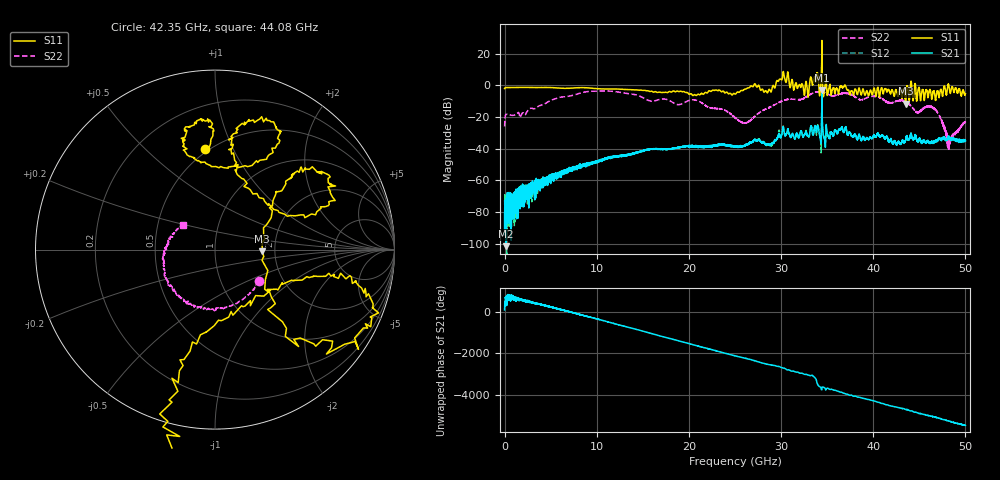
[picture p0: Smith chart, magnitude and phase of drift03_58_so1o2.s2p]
!Created with skrf (http://scikit-rf.org).
# Hz S RI R 50.0
!freq ReS11 ImS11 ReS21 ImS21 ReS12 ImS12 ReS22 ImS22
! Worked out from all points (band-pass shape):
!   10000 points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, 5.3 MHz to 50 GHz, reference 50 ohm
!   highest |S21| = -2.97 dB at 34.43 GHz (marker M1); lowest = -101.8 dB at 145.3 MHz (marker M2)
!   |S21| within 3 dB of the highest: 34.42743 GHz to 34.43482 GHz (7.388 MHz wide, 0.0215 % of centre)
!   lowest |S11| = -11.6 dB at 43.52 GHz (marker M3), VSWR 1.72, Z = 85.8 - j1.64 ohm
!   |S11| at or under -10 dB: 43.48865 GHz to 43.54488 GHz (56.23 MHz wide, 0.129 % of centre); 44.70697 GHz to 44.71091 GHz (3.937 MHz wide, 0.00881 % of centre)
!   |S22| runs from -40.3 to -3.6 dB; largest |S21 - S12| = 0.24
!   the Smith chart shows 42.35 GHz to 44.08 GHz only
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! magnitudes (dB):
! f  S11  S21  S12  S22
! 5.3 MHz  -2.1  -80.5  -73.3  -26.1
! 145.3 MHz  -1.4  -101.8  -72.3  -18.4
! 1.97 GHz  -1.3  -67.5  -66.4  -17.4
! 8.34 GHz  -1.5  -50.3  -51.1  -4.7
! 16.67 GHz  -4.4  -40.6  -40.3  -9.2
! 20.75 GHz  -6.3  -38.6  -38.5  -9.4
! 25.01 GHz  -5.5  -38.9  -38.6  -20.5
! 26.22 GHz  -2.3  -37.6  -37.5  -23.7
! 27.38 GHz  -1.2  -34.8  -35.1  -18.5
! 28.72 GHz  -2.5  -37.7  -37.6  -14.1
! 30.14 GHz  4.5  -29.4  -29.7  -9.9
! 32.74 GHz  2.0  -29.5  -29.2  -7.2
! 33.34 GHz  2.6  -27.5  -27.8  -5.3
! 33.82 GHz  4.0  -29.3  -29.6  -4.3
! 34.43 GHz  28.3  -3.0  -5.3  -4.0
! 36.49 GHz  -0.2  -27.8  -27.9  -5.3
! 41.67 GHz  -2.9  -35.5  -35.2  -10.8
! 43.52 GHz  -11.6  -34.4  -34.4  -10.4
! 44.77 GHz  -7.5  -35.1  -35.0  -17.1
! 46.67 GHz  -5.4  -35.9  -35.7  -15.0
! 48.22 GHz  -0.5  -32.7  -32.8  -35.7
! 50 GHz  -5.3  -35.2  -34.6  -23.4
